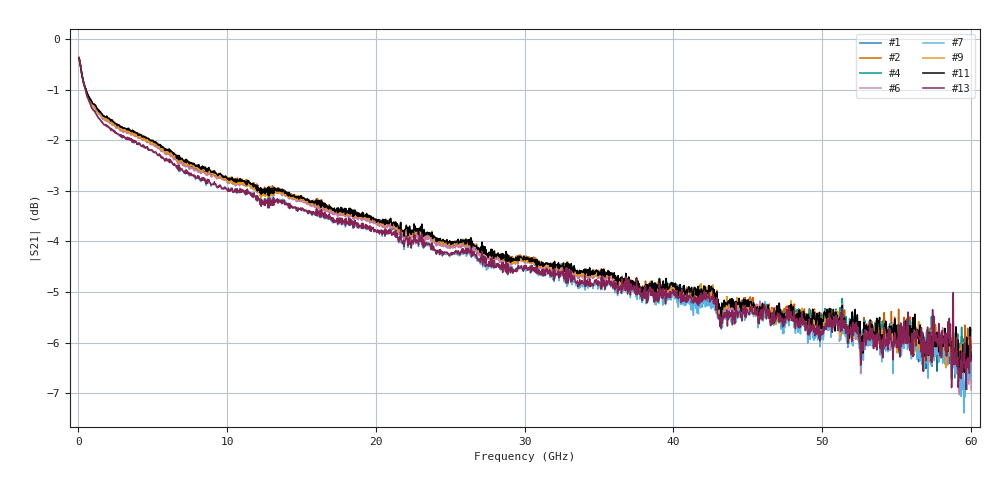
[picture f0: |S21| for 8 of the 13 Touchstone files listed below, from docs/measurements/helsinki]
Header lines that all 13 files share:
! File created by 'SoftPlot +Plus+ Measurement Management Software'
! SoftPlot +Plus+ Measurement Management Software
! Start 40.000000 MHz  Stop 60.000000 GHz  Points 1601
# MHZ S RI R 50
! S-Parameter data, F S11 S21 S12 S22
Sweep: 40 MHz to 60 GHz
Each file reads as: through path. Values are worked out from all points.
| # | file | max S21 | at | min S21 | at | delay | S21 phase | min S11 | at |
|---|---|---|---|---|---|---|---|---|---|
| 1 | 00_ALD.s2p | -0.38 dB | 40 MHz | -6.7 dB | 58.91 GHz | 99.1 ps | -0 deg at 30.02 GHz | -28.8 dB | 40 MHz |
| 2 | 01_ALD.s2p | -0.36 dB | 40 MHz | -6.6 dB | 60 GHz | 98.9 ps | 2 deg at 30.02 GHz | -29.5 dB | 4.949 GHz |
| 3 | 01_no_ALD.s2p | -0.36 dB | 40 MHz | -7.1 dB | 59.66 GHz | 98.5 ps | 7 deg at 30.02 GHz | -37.7 dB | 56.85 GHz |
| 4 | 02_ALD.s2p | -0.38 dB | 40 MHz | -6.7 dB | 58.69 GHz | 98.4 ps | 8 deg at 30.02 GHz | -29.5 dB | 4.912 GHz |
| 5 | 02_no_ALD.s2p | -0.35 dB | 40 MHz | -6.9 dB | 59.4 GHz | 97.9 ps | 14 deg at 30.02 GHz | -40.1 dB | 56.85 GHz |
| 6 | 03_ALD.s2p | -0.39 dB | 40 MHz | -7.0 dB | 59.21 GHz | 98.7 ps | 4 deg at 30.02 GHz | -30.1 dB | 4.874 GHz |
| 7 | 03_no_ALD.s2p | -0.38 dB | 40 MHz | -7.4 dB | 59.51 GHz | 98.2 ps | 10 deg at 30.02 GHz | -47.8 dB | 56.51 GHz |
| 8 | 04_ALD.s2p | -0.41 dB | 40 MHz | -6.8 dB | 59.29 GHz | 99.3 ps | -2 deg at 30.02 GHz | -29.9 dB | 4.912 GHz |
| 9 | 05_ALD.s2p | -0.37 dB | 40 MHz | -6.8 dB | 59.66 GHz | 98.1 ps | 10 deg at 30.02 GHz | -28.9 dB | 40 MHz |
| 10 | 05_no_ALD.s2p | -0.37 dB | 40 MHz | -6.8 dB | 59.48 GHz | 97.7 ps | 16 deg at 30.02 GHz | -42.1 dB | 56.85 GHz |
| 11 | 06_ALD.s2p | -0.38 dB | 40 MHz | -6.6 dB | 59.18 GHz | 98.4 ps | 8 deg at 30.02 GHz | -32.1 dB | 4.987 GHz |
| 12 | 07_ALD.s2p | -0.39 dB | 40 MHz | -6.9 dB | 59.21 GHz | 98.6 ps | 5 deg at 30.02 GHz | -35.9 dB | 55.95 GHz |
| 13 | 07_no_ALD.s2p | -0.37 dB | 40 MHz | -6.9 dB | 59.66 GHz | 98.1 ps | 11 deg at 30.02 GHz | -39.9 dB | 56.85 GHz |
